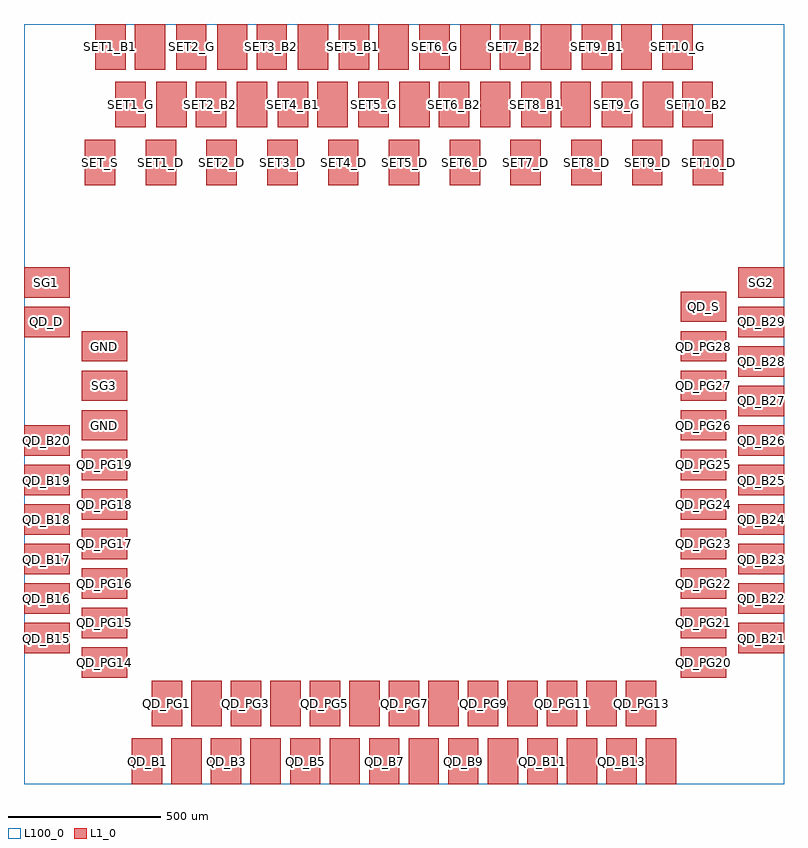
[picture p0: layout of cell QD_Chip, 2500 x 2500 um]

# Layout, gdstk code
import gdstk
lib = gdstk.Library(unit=1e-6, precision=1e-09)
def R(c, l, rs):  # rectangles x0, y0, x1, y1
    for r in rs: c.add(gdstk.rectangle(r[:2], r[2:], *l))
def A(c, l, x, y, w, h, nx, ny, dx, dy):  # array of equal rectangles
    R(c, l, [(x+i*dx, y+j*dy, x+i*dx+w, y+j*dy+h) for i in range(nx) for j in range(ny)])
L1_0 = (1, 0)
L100_0 = (100, 0)

qd_chip = lib.new_cell('QD_Chip')
A(qd_chip, L1_0, 355, 0, 100, 150, 14, 1, 130, 0)
A(qd_chip, L1_0, 420, 190, 100, 150, 13, 1, 130, 0)
A(qd_chip, L1_0, 190, 350, 150, 100, 1, 9, 0, 130)
A(qd_chip, L1_0, 2160, 350, 150, 100, 1, 10, 0, 130)
A(qd_chip, L1_0, 0, 430, 150, 100, 1, 6, 0, 130)
A(qd_chip, L1_0, 2350, 430, 150, 100, 1, 10, 0, 130)
A(qd_chip, L1_0, 200, 1970, 100, 150, 11, 1, 200, 0)
A(qd_chip, L1_0, 565, 2160, 100, 150, 3, 1, 135, 0)
A(qd_chip, L1_0, 965, 2160, 100, 150, 3, 1, 135, 0)
A(qd_chip, L1_0, 1365, 2160, 100, 150, 3, 1, 135, 0)
A(qd_chip, L1_0, 1765, 2160, 100, 150, 3, 1, 135, 0)
A(qd_chip, L1_0, 365, 2350, 100, 150, 3, 1, 135, 0)
A(qd_chip, L1_0, 765, 2350, 100, 150, 3, 1, 135, 0)
A(qd_chip, L1_0, 1165, 2350, 100, 150, 3, 1, 135, 0)
A(qd_chip, L1_0, 1565, 2350, 100, 150, 3, 1, 135, 0)
R(qd_chip, L1_0, [(0,1470,150,1570), (0,1600,150,1700), (300,2160,400,2310), (435,2160,535,2310), (2165,2160,2265,2310), (235,2350,335,2500), (1965,2350,2065,2500), (2100,2350,2200,2500)])
R(qd_chip, L100_0, [(0,0,2500,2500)])
qd_chip.add(gdstk.Label('QD_B1', (405,75), layer=10, texttype=0))
qd_chip.add(gdstk.Label('QD_B2', (535,75), layer=10, texttype=0))
qd_chip.add(gdstk.Label('QD_B3', (665,75), layer=10, texttype=0))
qd_chip.add(gdstk.Label('QD_B4', (795,75), layer=10, texttype=0))
qd_chip.add(gdstk.Label('QD_B5', (925,75), layer=10, texttype=0))
qd_chip.add(gdstk.Label('QD_B6', (1055,75), layer=10, texttype=0))
qd_chip.add(gdstk.Label('QD_B7', (1185,75), layer=10, texttype=0))
qd_chip.add(gdstk.Label('QD_B8', (1315,75), layer=10, texttype=0))
qd_chip.add(gdstk.Label('QD_B9', (1445,75), layer=10, texttype=0))
qd_chip.add(gdstk.Label('QD_B10', (1575,75), layer=10, texttype=0))
qd_chip.add(gdstk.Label('QD_B11', (1705,75), layer=10, texttype=0))
qd_chip.add(gdstk.Label('QD_B12', (1835,75), layer=10, texttype=0))
qd_chip.add(gdstk.Label('QD_B13', (1965,75), layer=10, texttype=0))
qd_chip.add(gdstk.Label('QD_B14', (2095,75), layer=10, texttype=0))
qd_chip.add(gdstk.Label('QD_PG1', (470,265), layer=10, texttype=0))
qd_chip.add(gdstk.Label('QD_PG2', (600,265), layer=10, texttype=0))
qd_chip.add(gdstk.Label('QD_PG3', (730,265), layer=10, texttype=0))
qd_chip.add(gdstk.Label('QD_PG4', (860,265), layer=10, texttype=0))
qd_chip.add(gdstk.Label('QD_PG5', (990,265), layer=10, texttype=0))
qd_chip.add(gdstk.Label('QD_PG6', (1120,265), layer=10, texttype=0))
qd_chip.add(gdstk.Label('QD_PG7', (1250,265), layer=10, texttype=0))
qd_chip.add(gdstk.Label('QD_PG8', (1380,265), layer=10, texttype=0))
qd_chip.add(gdstk.Label('QD_PG9', (1510,265), layer=10, texttype=0))
qd_chip.add(gdstk.Label('QD_PG10', (1640,265), layer=10, texttype=0))
qd_chip.add(gdstk.Label('QD_PG11', (1770,265), layer=10, texttype=0))
qd_chip.add(gdstk.Label('QD_PG12', (1900,265), layer=10, texttype=0))
qd_chip.add(gdstk.Label('QD_PG13', (2030,265), layer=10, texttype=0))
qd_chip.add(gdstk.Label('SET1_B1', (285,2425), layer=10, texttype=0))
qd_chip.add(gdstk.Label('SET1_B2', (415,2425), layer=10, texttype=0))
qd_chip.add(gdstk.Label('SET1_G', (350,2235), layer=10, texttype=0))
qd_chip.add(gdstk.Label('SET1_D', (450,2045), layer=10, texttype=0))
qd_chip.add(gdstk.Label('SET_S', (250,2045), layer=10, texttype=0))
qd_chip.add(gdstk.Label('SET2_G', (550,2425), layer=10, texttype=0))
qd_chip.add(gdstk.Label('SET2_B1', (485,2235), layer=10, texttype=0))
qd_chip.add(gdstk.Label('SET2_B2', (615,2235), layer=10, texttype=0))
qd_chip.add(gdstk.Label('SET2_D', (650,2045), layer=10, texttype=0))
qd_chip.add(gdstk.Label('SET3_B1', (685,2425), layer=10, texttype=0))
qd_chip.add(gdstk.Label('SET3_B2', (815,2425), layer=10, texttype=0))
qd_chip.add(gdstk.Label('SET3_G', (750,2235), layer=10, texttype=0))
qd_chip.add(gdstk.Label('SET3_D', (850,2045), layer=10, texttype=0))
qd_chip.add(gdstk.Label('SET4_G', (950,2425), layer=10, texttype=0))
qd_chip.add(gdstk.Label('SET4_B1', (885,2235), layer=10, texttype=0))
qd_chip.add(gdstk.Label('SET4_B2', (1015,2235), layer=10, texttype=0))
qd_chip.add(gdstk.Label('SET4_D', (1050,2045), layer=10, texttype=0))
qd_chip.add(gdstk.Label('SET5_B1', (1085,2425), layer=10, texttype=0))
qd_chip.add(gdstk.Label('SET5_B2', (1215,2425), layer=10, texttype=0))
qd_chip.add(gdstk.Label('SET5_G', (1150,2235), layer=10, texttype=0))
qd_chip.add(gdstk.Label('SET5_D', (1250,2045), layer=10, texttype=0))
qd_chip.add(gdstk.Label('SET6_G', (1350,2425), layer=10, texttype=0))
qd_chip.add(gdstk.Label('SET6_B1', (1285,2235), layer=10, texttype=0))
qd_chip.add(gdstk.Label('SET6_B2', (1415,2235), layer=10, texttype=0))
qd_chip.add(gdstk.Label('SET6_D', (1450,2045), layer=10, texttype=0))
qd_chip.add(gdstk.Label('SET7_B1', (1485,2425), layer=10, texttype=0))
qd_chip.add(gdstk.Label('SET7_B2', (1615,2425), layer=10, texttype=0))
qd_chip.add(gdstk.Label('SET7_G', (1550,2235), layer=10, texttype=0))
qd_chip.add(gdstk.Label('SET7_D', (1650,2045), layer=10, texttype=0))
qd_chip.add(gdstk.Label('SET8_G', (1750,2425), layer=10, texttype=0))
qd_chip.add(gdstk.Label('SET8_B1', (1685,2235), layer=10, texttype=0))
qd_chip.add(gdstk.Label('SET8_B2', (1815,2235), layer=10, texttype=0))
qd_chip.add(gdstk.Label('SET8_D', (1850,2045), layer=10, texttype=0))
qd_chip.add(gdstk.Label('SET9_B1', (1885,2425), layer=10, texttype=0))
qd_chip.add(gdstk.Label('SET9_B2', (2015,2425), layer=10, texttype=0))
qd_chip.add(gdstk.Label('SET9_G', (1950,2235), layer=10, texttype=0))
qd_chip.add(gdstk.Label('SET9_D', (2050,2045), layer=10, texttype=0))
qd_chip.add(gdstk.Label('SET10_G', (2150,2425), layer=10, texttype=0))
qd_chip.add(gdstk.Label('SET10_B1', (2085,2235), layer=10, texttype=0))
qd_chip.add(gdstk.Label('SET10_B2', (2215,2235), layer=10, texttype=0))
qd_chip.add(gdstk.Label('SET10_D', (2250,2045), layer=10, texttype=0))
qd_chip.add(gdstk.Label('QD_B15', (75,480), layer=10, texttype=0))
qd_chip.add(gdstk.Label('QD_B16', (75,610), layer=10, texttype=0))
qd_chip.add(gdstk.Label('QD_B17', (75,740), layer=10, texttype=0))
qd_chip.add(gdstk.Label('QD_B18', (75,870), layer=10, texttype=0))
qd_chip.add(gdstk.Label('QD_B19', (75,1000), layer=10, texttype=0))
qd_chip.add(gdstk.Label('QD_B20', (75,1130), layer=10, texttype=0))
qd_chip.add(gdstk.Label('QD_PG14', (265,400), layer=10, texttype=0))
qd_chip.add(gdstk.Label('QD_PG15', (265,530), layer=10, texttype=0))
qd_chip.add(gdstk.Label('QD_PG16', (265,660), layer=10, texttype=0))
qd_chip.add(gdstk.Label('QD_PG17', (265,790), layer=10, texttype=0))
qd_chip.add(gdstk.Label('QD_PG18', (265,920), layer=10, texttype=0))
qd_chip.add(gdstk.Label('QD_PG19', (265,1050), layer=10, texttype=0))
qd_chip.add(gdstk.Label('QD_B21', (2425,480), layer=10, texttype=0))
qd_chip.add(gdstk.Label('QD_B22', (2425,610), layer=10, texttype=0))
qd_chip.add(gdstk.Label('QD_B23', (2425,740), layer=10, texttype=0))
qd_chip.add(gdstk.Label('QD_B24', (2425,870), layer=10, texttype=0))
qd_chip.add(gdstk.Label('QD_B25', (2425,1000), layer=10, texttype=0))
qd_chip.add(gdstk.Label('QD_B26', (2425,1130), layer=10, texttype=0))
qd_chip.add(gdstk.Label('QD_B27', (2425,1260), layer=10, texttype=0))
qd_chip.add(gdstk.Label('QD_B28', (2425,1390), layer=10, texttype=0))
qd_chip.add(gdstk.Label('QD_B29', (2425,1520), layer=10, texttype=0))
qd_chip.add(gdstk.Label('QD_PG20', (2235,400), layer=10, texttype=0))
qd_chip.add(gdstk.Label('QD_PG21', (2235,530), layer=10, texttype=0))
qd_chip.add(gdstk.Label('QD_PG22', (2235,660), layer=10, texttype=0))
qd_chip.add(gdstk.Label('QD_PG23', (2235,790), layer=10, texttype=0))
qd_chip.add(gdstk.Label('QD_PG24', (2235,920), layer=10, texttype=0))
qd_chip.add(gdstk.Label('QD_PG25', (2235,1050), layer=10, texttype=0))
qd_chip.add(gdstk.Label('QD_PG26', (2235,1180), layer=10, texttype=0))
qd_chip.add(gdstk.Label('QD_PG27', (2235,1310), layer=10, texttype=0))
qd_chip.add(gdstk.Label('QD_PG28', (2235,1440), layer=10, texttype=0))
qd_chip.add(gdstk.Label('QD_D', (75,1520), layer=10, texttype=0))
qd_chip.add(gdstk.Label('SG1', (75,1650), layer=10, texttype=0))
qd_chip.add(gdstk.Label('GND', (265,1180), layer=10, texttype=0))
qd_chip.add(gdstk.Label('SG3', (265,1310), layer=10, texttype=0))
qd_chip.add(gdstk.Label('GND', (265,1440), layer=10, texttype=0))
qd_chip.add(gdstk.Label('SG2', (2425,1650), layer=10, texttype=0))
qd_chip.add(gdstk.Label('QD_S', (2235,1570), layer=10, texttype=0))

lib.write_gds('QD_Chip.gds')
